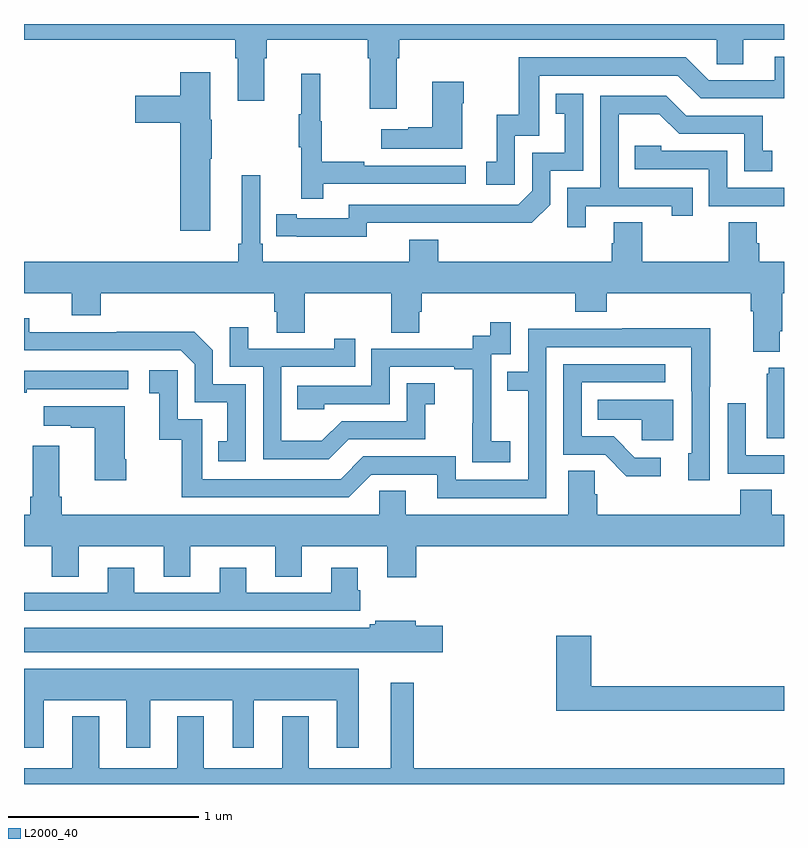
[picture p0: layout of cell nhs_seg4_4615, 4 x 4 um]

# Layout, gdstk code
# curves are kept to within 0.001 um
import gdstk
lib = gdstk.Library(unit=1e-6, precision=1e-09)
def P(c, l, *ps):  # polygons
    for p in ps: c.add(gdstk.Polygon(p, *l))
L2000_40 = (2000, 40)

nhs_seg4_4615 = lib.new_cell('nhs_seg4_4615')
P(nhs_seg4_4615, L2000_40, [(360.961,800.72),(360.974,800.72),(360.974,800.816),(362.646,800.816),(362.646,800.689),(362.785,800.689),(362.785,800.816),(363,800.816),(363,800.9),(359,800.9),(359,800.816),(360.113,800.816),(360.113,800.72),(360.125,800.72),(360.125,800.496),(360.265,800.496),(360.265,800.72),(360.278,800.72),(360.278,800.816),(360.809,800.816),(360.809,800.72),(360.821,800.72),(360.821,800.454),(360.961,800.454)],
  [(361.584,800.313),(361.713,800.313),(361.713,800.628),(362.442,800.628),(362.562,800.508),(363,800.508),(363,800.727),(362.951,800.727),(362.951,800.604),(362.604,800.604),(362.484,800.724),(361.605,800.724),(361.605,800.422),(361.487,800.422),(361.487,800.175),(361.434,800.175),(361.434,800.055),(361.584,800.055)],
  [(359.98,800.191),(359.988,800.191),(359.988,800.397),(359.98,800.397),(359.98,800.647),(359.822,800.647),(359.822,800.523),(359.586,800.523),(359.586,800.381),(359.822,800.381),(359.822,799.812),(359.98,799.812)],
  [(360.575,800.058),(361.324,800.058),(361.324,800.154),(360.791,800.154),(360.791,800.174),(360.568,800.174),(360.568,800.388),(360.56,800.388),(360.56,800.638),(360.458,800.638),(360.458,800.425),(360.447,800.425),(360.447,800.251),(360.458,800.251),(360.458,799.98),(360.575,799.98)],
  [(361.306,800.483),(361.314,800.483),(361.314,800.596),(361.148,800.596),(361.148,800.357),(361.022,800.357),(361.022,800.347),(360.879,800.347),(360.879,800.243),(361.306,800.243)],
  [(360.804,799.854),(361.672,799.853),(361.77,799.95),(361.77,800.127),(361.944,800.127),(361.944,800.533),(361.798,800.533),(361.798,800.427),(361.847,800.427),(361.847,800.223),(361.674,800.223),(361.674,800.022),(361.602,799.95),(360.708,799.95),(360.708,799.878),(360.436,799.878),(360.436,799.898),(360.328,799.898),(360.328,799.782),(360.804,799.781)],
  [(361.957,799.941),(362.408,799.941),(362.408,799.89),(362.519,799.89),(362.519,800.037),(362.13,800.037),(362.13,800.426),(362.344,800.426),(362.448,800.322),(362.79,800.322),(362.79,800.124),(362.938,800.124),(362.938,800.233),(362.889,800.233),(362.889,800.418),(362.485,800.418),(362.38,800.523),(362.034,800.523),(362.034,800.037),(361.86,800.037),(361.86,799.83),(361.957,799.83)],
  [(363,800.037),(362.7,800.037),(362.7,800.232),(362.355,800.232),(362.355,800.259),(362.215,800.259),(362.215,800.136),(362.604,800.136),(362.604,799.941),(363,799.941)],
  [(362.977,799.282),(362.99,799.282),(362.99,799.484),(363,799.484),(363,799.648),(362.87,799.648),(362.87,799.746),(362.857,799.746),(362.857,799.856),(362.71,799.856),(362.71,799.648),(362.253,799.648),(362.253,799.856),(362.105,799.856),(362.105,799.746),(362.093,799.746),(362.093,799.648),(361.181,799.648),(361.181,799.765),(361.028,799.765),(361.028,799.648),(360.257,799.648),(360.257,799.744),(360.243,799.744),(360.243,800.104),(360.146,800.104),(360.146,799.744),(360.127,799.744),(360.127,799.648),(359,799.648),(359,799.484),(359.252,799.484),(359.252,799.367),(359.405,799.367),(359.405,799.484),(360.317,799.484),(360.317,799.386),(360.329,799.386),(360.329,799.276),(360.477,799.276),(360.477,799.484),(360.934,799.484),(360.934,799.276),(361.081,799.276),(361.081,799.386),(361.094,799.386),(361.094,799.484),(361.901,799.484),(361.901,799.385),(362.066,799.385),(362.066,799.484),(362.825,799.484),(362.825,799.388),(362.837,799.388),(362.837,799.175),(362.977,799.175)],
  [(360.168,799.005),(359.994,799.005),(359.994,799.182),(359.896,799.28),(359.488,799.28),(359.488,799.278),(359.028,799.278),(359.028,799.351),(359,799.351),(359,799.182),(359.826,799.182),(359.898,799.11),(359.898,798.909),(360.071,798.909),(360.071,798.705),(360.022,798.705),(360.022,798.6),(360.168,798.6)],
  [(361.558,798.703),(361.46,798.703),(361.46,798.932),(361.458,798.932),(361.458,799.161),(361.563,799.161),(361.563,799.33),(361.455,799.33),(361.455,799.26),(361.362,799.26),(361.362,799.191),(360.828,799.191),(360.828,798.996),(360.439,798.996),(360.439,798.873),(360.579,798.873),(360.579,798.9),(360.924,798.9),(360.924,799.095),(361.265,799.095),(361.265,799.083),(361.361,799.083),(361.361,798.799),(361.36,798.799),(361.36,798.593),(361.558,798.593)],
  [(360.709,798.714),(361.113,798.714),(361.113,798.899),(361.162,798.899),(361.162,799.009),(361.014,799.009),(361.014,798.81),(360.672,798.81),(360.568,798.706),(360.354,798.706),(360.354,799.095),(360.743,799.095),(360.743,799.243),(360.632,799.243),(360.632,799.191),(360.181,799.191),(360.181,799.303),(360.084,799.303),(360.084,799.095),(360.258,799.095),(360.258,798.609),(360.604,798.609)],
  [(361.749,799.2),(362.513,799.2),(362.514,798.642),(362.495,798.642),(362.495,798.498),(362.61,798.498),(362.61,798.991),(362.613,798.991),(362.613,799.298),(362.149,799.298),(362.149,799.296),(361.653,799.296),(361.653,799.071),(361.543,799.071),(361.543,798.97),(361.653,798.97),(361.653,798.501),(361.272,798.501),(361.272,798.624),(360.786,798.624),(360.666,798.504),(359.937,798.504),(359.937,798.819),(359.808,798.819),(359.808,799.078),(359.658,799.078),(359.658,798.957),(359.711,798.957),(359.711,798.711),(359.829,798.711),(359.829,798.408),(360.708,798.408),(360.828,798.528),(361.175,798.528),(361.175,798.405),(361.749,798.405)],
  [(362.35,798.618),(362.215,798.618),(362.104,798.729),(361.935,798.729),(361.935,799.014),(362.374,799.014),(362.374,799.11),(361.839,799.11),(361.839,798.633),(362.058,798.633),(362.171,798.521),(362.35,798.521)],
  [(363,799.09),(362.921,799.09),(362.921,799.059),(362.909,799.059),(362.909,798.719),(363,798.719)],
  [(359.015,798.978),(359.548,798.978),(359.548,799.074),(359,799.074),(359,798.958),(359.015,798.958)],
  [(362.416,798.922),(362.02,798.922),(362.02,798.818),(362.251,798.818),(362.251,798.71),(362.416,798.71)],
  [(363,798.63),(362.799,798.63),(362.799,798.904),(362.703,798.904),(362.703,798.534),(363,798.534)],
  [(359.538,798.61),(359.53,798.61),(359.53,798.889),(359.103,798.889),(359.103,798.785),(359.246,798.785),(359.246,798.775),(359.372,798.775),(359.372,798.498),(359.538,798.498)],
  [(361.064,798.152),(363,798.152),(363,798.316),(362.936,798.316),(362.936,798.449),(362.771,798.449),(362.771,798.316),(362.018,798.316),(362.018,798.425),(362.004,798.425),(362.004,798.548),(361.865,798.548),(361.865,798.316),(361.009,798.316),(361.009,798.443),(360.87,798.443),(360.87,798.316),(359.198,798.316),(359.198,798.412),(359.185,798.412),(359.185,798.679),(359.045,798.679),(359.045,798.412),(359.033,798.412),(359.033,798.316),(359,798.316),(359,798.152),(359.147,798.152),(359.147,797.992),(359.287,797.992),(359.287,798.152),(359.735,798.152),(359.735,797.992),(359.875,797.992),(359.875,798.152),(360.323,798.152),(360.323,797.992),(360.463,797.992),(360.463,798.152),(360.911,798.152),(360.911,797.988),(361.064,797.988)],
  [(360.77,797.919),(360.757,797.919),(360.757,798.037),(360.617,798.037),(360.617,797.907),(360.169,797.907),(360.169,798.037),(360.029,798.037),(360.029,797.907),(359.581,797.907),(359.581,798.037),(359.441,798.037),(359.441,797.907),(359,797.907),(359,797.811),(360.77,797.811)],
  [(361.204,797.734),(361.062,797.734),(361.062,797.758),(360.849,797.758),(360.849,797.742),(360.819,797.742),(360.819,797.722),(359,797.722),(359,797.594),(361.204,797.594)],
  [(363,797.414),(361.985,797.414),(361.985,797.68),(361.802,797.68),(361.802,797.286),(363,797.286)],
  [(359.104,797.342),(359.537,797.342),(359.537,797.091),(359.665,797.091),(359.665,797.342),(360.098,797.342),(360.098,797.091),(360.208,797.091),(360.208,797.342),(360.647,797.342),(360.647,797.091),(360.763,797.091),(360.763,797.506),(359,797.506),(359,797.091),(359.104,797.091)],
  [(363,796.984),(361.051,796.984),(361.051,797.434),(360.929,797.434),(360.929,796.984),(360.499,796.984),(360.499,797.257),(360.359,797.257),(360.359,796.984),(359.947,796.984),(359.947,797.257),(359.807,797.257),(359.807,796.984),(359.395,796.984),(359.395,797.257),(359.255,797.257),(359.255,796.984),(359,796.984),(359,796.9),(363,796.9)])

lib.write_gds('nhs_seg4_4615.gds')
